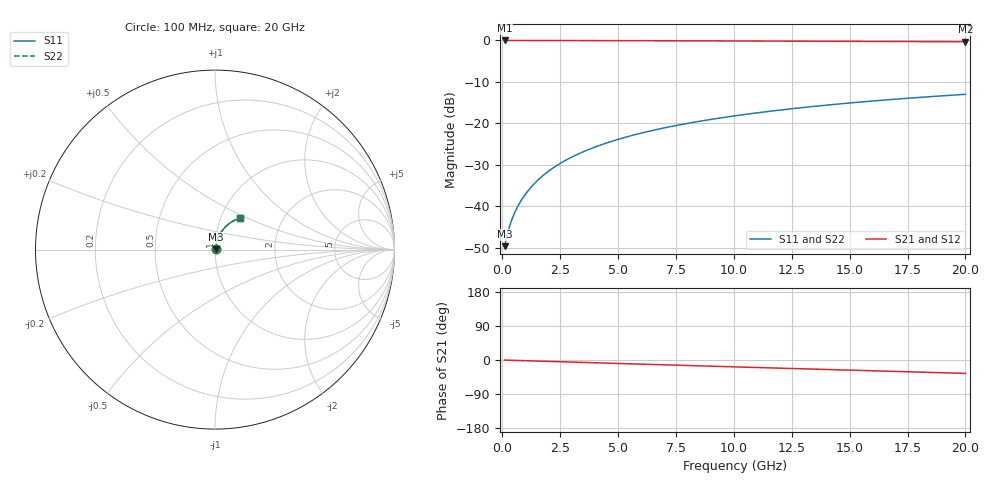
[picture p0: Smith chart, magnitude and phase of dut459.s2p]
! Touchstone file exported from HFSS 2026.1.0
!  File:  C:/ffzhzh/LocalFiles/Ansys_Project_Files/temp_train_BSMRDL_459_1783013461_55676.aedt
!  Generated:  01:32:20 AM Jul  3, 2026
!  Design:  BSMRDL
!  Project:  temp_train_BSMRDL_459_1783013461_55676
! Variables:
!  h_bsmrdl = 3.46um
!  h_ox = 20um
!  h_rdl = 5um
!  h_sub = 80um
!  h_tmrdl = 5um
!  h_tsv = 80um
!  h_via = 3um
!  l_bsmrdl = 570.44um
!  l_sub = 970.44um
!  l_tmrdl = 200um
!  m_sub = 200um
!  pitch = 34.63um
!  r_tsv = 6um
!  s_tmrdl = 10um
!  w_bsmrdl = 21.87um
!  w_sub = 500um
!  w_tmrdl = 12um
!  x_tsv_center1 = 206um
!  x_tsv_center2 = 798.31um
!  x_tsv_center3 = 1010.31um
!  x_tsv_center4 = 1602.62um
!  x_tsv_center5 = 1814.62um
!  x_tsv_center6 = 2406.93um
# GHz S MA R 50.000000
! Terminal data exported
! Port[1] = BSM_RDL1_1_T1
! Port[2] = BSM_RDL1_1_T2
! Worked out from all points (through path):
!   200 points, 100 MHz to 20 GHz, reference 50 ohm
!   highest |S21| = -0.03 dB at 100 MHz (marker M1); lowest = -0.3 dB at 20 GHz (marker M2)
!   group delay of S21, straight-line fit = 4.9 ps
!   lowest |S11| = -49.6 dB at 100 MHz (marker M3), VSWR 1.01, Z = 50.3 + j0.16 ohm
!   |S11| at or under -10 dB: start of sweep to end of sweep
!   |S22| runs from -49.6 to -13.0 dB; largest |S21 - S12| = 3e-15
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0.1  0.003308 28.7  0.9971 -0.2  0.9971 -0.2  0.003308 28.7
! Gamma 0 0 0 0
! Port Impedance 50 0 50 0
0.2  0.004372 44.8  0.9969 -0.4  0.9969 -0.4  0.004372 44.8
0.3  0.005571 53.3  0.9967 -0.6  0.9967 -0.6  0.005571 53.3
0.4  0.006773 58.5  0.9965 -0.8  0.9965 -0.8  0.006773 58.5
0.5  0.007965 62.1  0.9964 -1.0  0.9964 -1.0  0.007965 62.1
0.6  0.009156 64.9  0.9963 -1.1  0.9963 -1.1  0.009155 64.9
0.8  0.01156 69.0  0.9961 -1.5  0.9961 -1.5  0.01156 69.0
1  0.014 71.6  0.996 -1.9  0.996 -1.9  0.014 71.6
1.2  0.01647 73.5  0.9958 -2.2  0.9958 -2.2  0.01647 73.5
1.4  0.01896 74.8  0.9957 -2.6  0.9957 -2.6  0.01896 74.8
1.7  0.02273 76.1  0.9955 -3.2  0.9955 -3.2  0.02273 76.1
2.2  0.02906 77.2  0.9952 -4.1  0.9952 -4.1  0.02906 77.2
2.8  0.03665 77.5  0.9947 -5.2  0.9947 -5.2  0.03665 77.5
3.5  0.04547 77.2  0.9939 -6.4  0.9939 -6.4  0.04547 77.2
4.2  0.05421 76.5  0.9931 -7.7  0.9931 -7.7  0.05421 76.5
5  0.06409 75.5  0.992 -9.2  0.992 -9.2  0.06408 75.5
6.8  0.0858 72.9  0.9893 -12.4  0.9893 -12.4  0.0858 72.9
8.3  0.1033 70.5  0.9867 -15.1  0.9867 -15.1  0.1033 70.5
10.1  0.1238 67.6  0.9834 -18.3  0.9834 -18.3  0.1238 67.6
13.4  0.1594 62.2  0.9768 -24.0  0.9768 -24.0  0.1594 62.3
16.7  0.1928 56.9  0.9697 -29.7  0.9697 -29.7  0.1928 56.9
20  0.2237 51.5  0.9622 -35.3  0.9622 -35.3  0.2236 51.6
